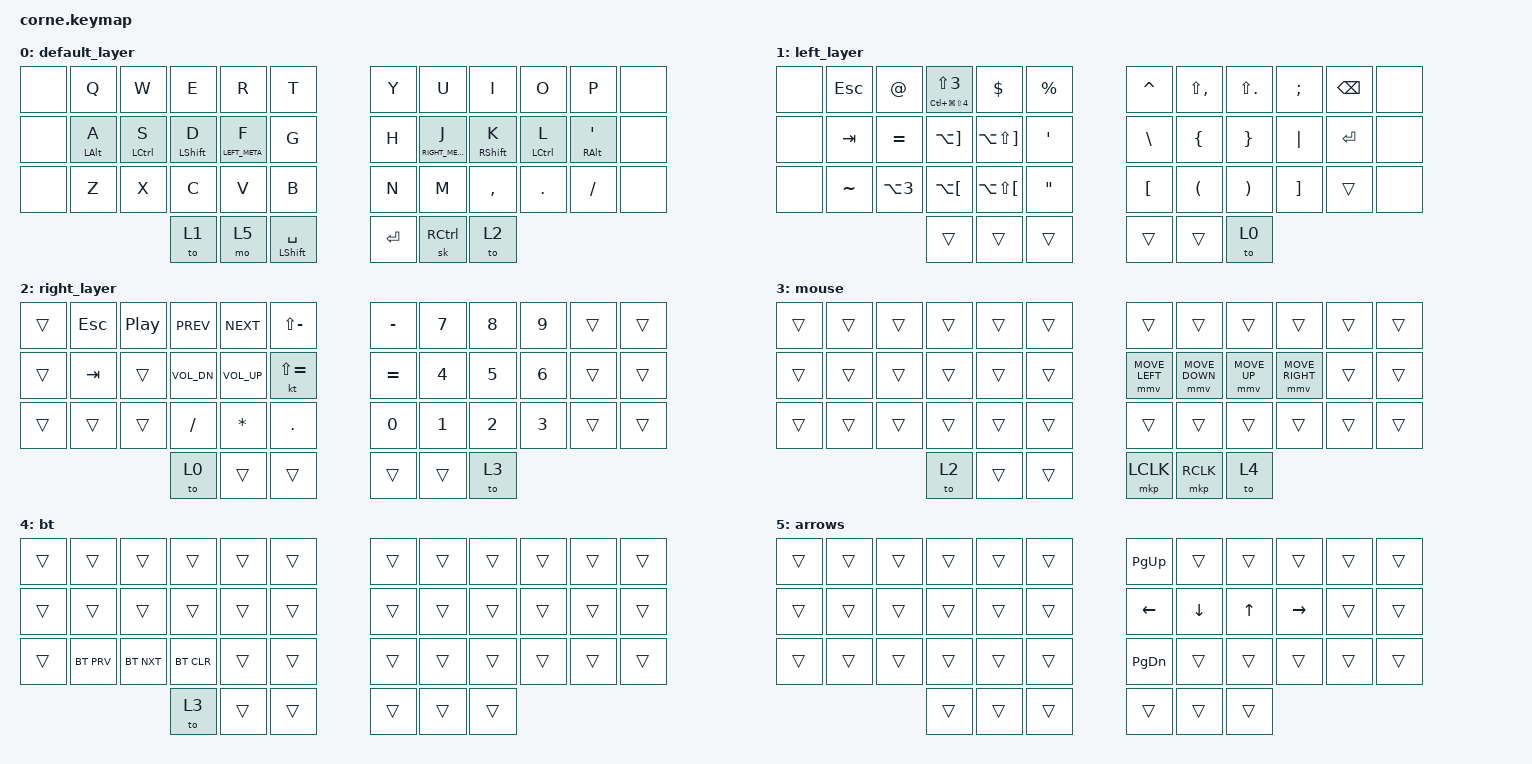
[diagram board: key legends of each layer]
/*
 * Copyright (c) 2020 The ZMK Contributors
 *
 * SPDX-License-Identifier: MIT
 */

#include <behaviors.dtsi>
#include <dt-bindings/zmk/bt.h>
#include <dt-bindings/zmk/keys.h>
#include <dt-bindings/zmk/keys.h>
#include <dt-bindings/zmk/pointing.h>
#include <dt-bindings/zmk/pointing.h>

/ {
    behaviors {
        hm: homerow_mods {
            compatible = "zmk,behavior-hold-tap";
            label = "HOMEROW_MODS";
            #binding-cells = <2>;
            tapping-term-ms = <200>;
            quick_tap_ms = <0>;
            flavor = "tap-preferred";
            bindings = <&kp>, <&kp>;
        };

        td: tapdance {
            compatible = "zmk,behavior-hold-tap";
            label = "TAPDANCE";
            #binding-cells = <2>;
            tapping-term-ms = <150>;
            quick_tap_ms = <0>;
            flavor = "tap-preferred";
            bindings = <&kp>, <&kp>;
        };
    };

    keymap {
        compatible = "zmk,keymap";

        default_layer {
            bindings = <
                &none  &kp Q           &kp W        &kp E             &kp R            &kp T                   &kp Y    &kp U             &kp I              &kp O        &kp P                       &none
                &none  &hm LEFT_ALT A  &hm LCTRL S  &hm LEFT_SHIFT D  &hm LEFT_META F  &kp G                   &kp H    &hm RIGHT_META J  &hm RIGHT_SHIFT K  &hm LCTRL L  &hm RIGHT_ALT SINGLE_QUOTE  &none
                &none  &kp Z           &kp X        &kp C             &kp V            &kp B                   &kp N    &kp M             &kp COMMA          &kp DOT      &kp FSLH                    &none
                                                    &to 1             &mo 5            &mt LEFT_SHIFT SPACE    &kp RET  &sk RCTRL         &to 2
            >;
        };

        left_layer {
            bindings = <
                &none  &kp ESC    &kp AT      &td LC(LG(LS(N4))) LS(N3)  &kp DLLR          &kp PRCNT    &kp CARET  &kp LS(COMMA)         &kp LS(DOT)            &kp SEMI  &kp BACKSPACE  &none
                &none  &kp TAB    &kp EQUAL   &kp LA(RBKT)               &kp LA(LS(RBKT))  &kp SQT      &kp BSLH   &kp LBRC              &kp RBRC               &kp PIPE  &kp ENTER      &none
                &none  &kp TILDE  &kp LA(N3)  &kp LA(LBKT)               &kp LA(LS(LBKT))  &kp DQT      &kp LBKT   &kp LEFT_PARENTHESIS  &kp RIGHT_PARENTHESIS  &kp RBKT  &trans         &none
                                              &trans                     &trans            &trans       &trans     &trans                &to 0
            >;
        };

        right_layer {
            bindings = <
                &trans  &kp ESC  &kp C_PP  &kp C_PREV    &kp C_NEXT    &kp LS(MINUS)    &kp MINUS  &kp N7  &kp N8  &kp N9  &trans  &trans
                &trans  &kp TAB  &trans    &kp C_VOL_DN  &kp C_VOL_UP  &kt LS(EQUAL)    &kp EQUAL  &kp N4  &kp N5  &kp N6  &trans  &trans
                &trans  &trans   &trans    &kp FSLH      &kp STAR      &kp DOT          &kp N0     &kp N1  &kp N2  &kp N3  &trans  &trans
                                           &to 0         &trans        &trans           &trans     &trans  &to 3
            >;
        };

        mouse {
            bindings = <
                &trans  &trans  &trans  &trans  &trans  &trans    &trans          &trans          &trans        &trans           &trans  &trans
                &trans  &trans  &trans  &trans  &trans  &trans    &mmv MOVE_LEFT  &mmv MOVE_DOWN  &mmv MOVE_UP  &mmv MOVE_RIGHT  &trans  &trans
                &trans  &trans  &trans  &trans  &trans  &trans    &trans          &trans          &trans        &trans           &trans  &trans
                                        &to 2   &trans  &trans    &mkp LCLK       &mkp RCLK       &to 4
            >;
        };

        bt {
            bindings = <
                &trans  &trans      &trans      &trans      &trans  &trans    &trans  &trans  &trans  &trans  &trans  &trans
                &trans  &trans      &trans      &trans      &trans  &trans    &trans  &trans  &trans  &trans  &trans  &trans
                &trans  &bt BT_PRV  &bt BT_NXT  &bt BT_CLR  &trans  &trans    &trans  &trans  &trans  &trans  &trans  &trans
                                                &to 3       &trans  &trans    &trans  &trans  &trans
            >;
        };

        arrows {
            bindings = <
                &trans  &trans  &trans  &trans  &trans  &trans    &kp PAGE_UP    &trans    &trans  &trans     &trans  &trans
                &trans  &trans  &trans  &trans  &trans  &trans    &kp LEFT       &kp DOWN  &kp UP  &kp RIGHT  &trans  &trans
                &trans  &trans  &trans  &trans  &trans  &trans    &kp PAGE_DOWN  &trans    &trans  &trans     &trans  &trans
                                        &trans  &trans  &trans    &trans         &trans    &trans
            >;
        };
    };
};
